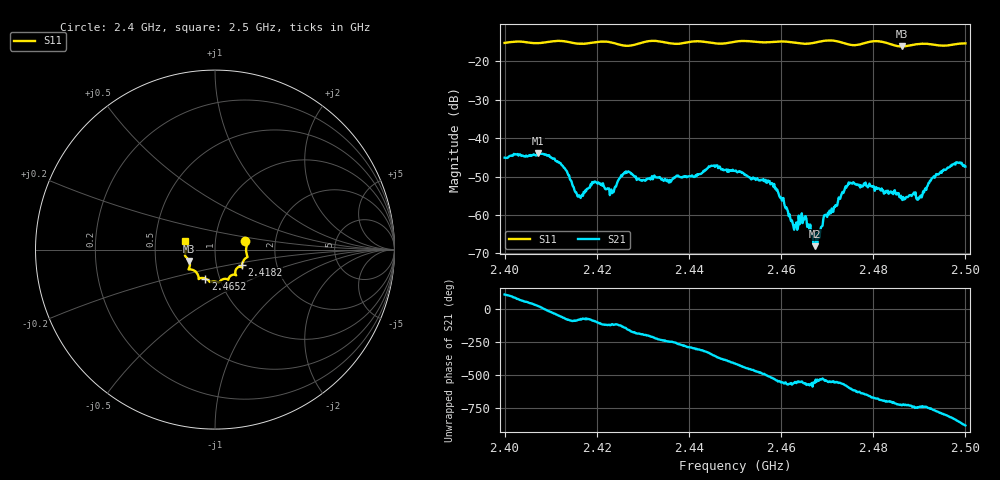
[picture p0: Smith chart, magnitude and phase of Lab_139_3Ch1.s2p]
# Hz S RI R 50
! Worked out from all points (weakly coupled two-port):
!   601 points, 2.4 GHz to 2.5 GHz, reference 50 ohm
!   highest |S21| = -43.95 dB at 2.4072 GHz (marker M1); lowest = -68.2 dB at 2.4673 GHz (marker M2)
!   lowest |S11| = -16.1 dB at 2.4862 GHz (marker M3), VSWR 1.37, Z = 37.2 - j4.89 ohm
!   |S11| at or under -10 dB: start of sweep to end of sweep
!   S12 and S22 are empty: the file has one direction only
!   S11 on the Smith chart (normalised r, x): 2.4 GHz: 1.40, +0.14; 2.4182 GHz: 1.33, -0.23; 2.4652 GHz: 0.85, -0.28; 2.5 GHz: 0.71, +0.07
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2.4e9  0.1681 0.0473  -0.00228 0.00508  0 0  0 0
2.407167e9  0.1732 -0.00498  0.00562 0.00293  0 0  0 0
2.412167e9  0.1807 -0.0415  0.00278 -0.00381  0 0  0 0
2.416667e9  0.1556 -0.0679  0.000393 -0.00173  0 0  0 0
2.418167e9  0.1501 -0.0846  0.000647 -0.00213  0 0  0 0
2.423333e9  0.1473 -0.0969  -0.000721 -0.00178  0 0  0 0
2.4265e9  0.1221 -0.1035  -0.00304 -0.00184  0 0  0 0
2.433333e9  0.117 -0.1415  -0.00204 0.0023  0 0  0 0
2.445e9  0.0623 -0.1629  0.00421 0.00118  0 0  0 0
2.45e9  0.0258 -0.1794  0.00227 -0.00297  0 0  0 0
2.457667e9  -0.014 -0.1783  -0.00231 -0.000984  0 0  0 0
2.462667e9  -0.0346 -0.1734  -0.000655 0.000291  0 0  0 0
2.465167e9  -0.0544 -0.1613  -0.000852 0.000431  0 0  0 0
2.466667e9  -0.0707 -0.1578  -0.000506 0.000204  0 0  0 0
2.467333e9  -0.0775 -0.1581  -0.000365 0.000141  0 0  0 0
2.469667e9  -0.0905 -0.1635  -0.001 1.07e-06  0 0  0 0
2.474833e9  -0.0998 -0.1325  -0.00126 0.00222  0 0  0 0
2.483333e9  -0.1415 -0.0965  0.0018 0.000563  0 0  0 0
2.486167e9  -0.1431 -0.064  0.00159 -0.000341  0 0  0 0
2.49e9  -0.1656 -0.0367  0.00149 -0.000694  0 0  0 0
2.494167e9  -0.1619 -0.00718  0.00142 -0.00305  0 0  0 0
2.5e9  -0.1657 0.0473  -0.00415 -0.000981  0 0  0 0
